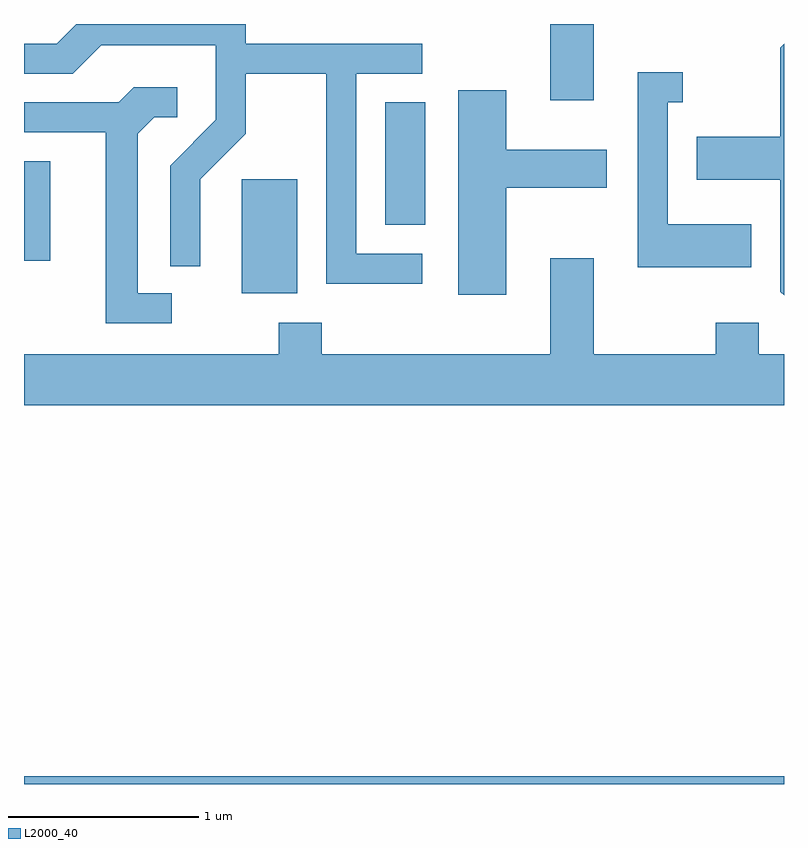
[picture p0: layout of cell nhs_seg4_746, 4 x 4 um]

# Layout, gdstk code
import gdstk
lib = gdstk.Library(unit=1e-6, precision=1e-09)
def R(c, l, rs):  # rectangles x0, y0, x1, y1
    for r in rs: c.add(gdstk.rectangle(r[:2], r[2:], *l))
def P(c, l, *ps):  # polygons
    for p in ps: c.add(gdstk.Polygon(p, *l))
L2000_40 = (2000, 40)

nhs_seg4_746 = lib.new_cell('nhs_seg4_746')
R(nhs_seg4_746, L2000_40, [(205.611,1385.982,209.611,1386.024), (206.756,1388.566,207.049,1389.164), (205.611,1388.736,205.749,1389.259), (207.511,1388.926,207.724,1389.569), (208.381,1389.581,208.609,1389.982)])
P(nhs_seg4_746, L2000_40, [(207.708,1388.774),(207.359,1388.774),(207.359,1389.721),(207.708,1389.721),(207.708,1389.879),(206.779,1389.879),(206.779,1389.982),(205.887,1389.982),(205.784,1389.879),(205.611,1389.879),(205.611,1389.721),(205.867,1389.721),(206.017,1389.871),(206.621,1389.871),(206.621,1389.477),(206.381,1389.237),(206.381,1388.708),(206.539,1388.708),(206.539,1389.164),(206.779,1389.404),(206.779,1389.721),(207.201,1389.721),(207.201,1388.616),(207.708,1388.616)],
  [(209.611,1389.877),(209.591,1389.857),(209.591,1389.389),(209.151,1389.389),(209.151,1389.161),(209.591,1389.161),(209.591,1388.574),(209.611,1388.554)],
  [(209.439,1388.929),(208.999,1388.929),(208.999,1389.571),(209.078,1389.571),(209.078,1389.729),(208.841,1389.729),(208.841,1388.701),(209.439,1388.701)],
  [(206.388,1388.564),(206.209,1388.564),(206.209,1389.404),(206.297,1389.491),(206.418,1389.491),(206.418,1389.649),(206.189,1389.649),(206.109,1389.569),(205.611,1389.569),(205.611,1389.411),(206.041,1389.411),(206.041,1388.406),(206.388,1388.406)],
  [(208.149,1389.121),(208.679,1389.121),(208.679,1389.319),(208.149,1389.319),(208.149,1389.634),(207.896,1389.634),(207.896,1388.556),(208.149,1388.556)],
  [(209.611,1388.244),(209.479,1388.244),(209.479,1388.409),(209.251,1388.409),(209.251,1388.244),(208.609,1388.244),(208.609,1388.749),(208.381,1388.749),(208.381,1388.244),(207.179,1388.244),(207.179,1388.409),(206.951,1388.409),(206.951,1388.244),(205.611,1388.244),(205.611,1387.976),(209.611,1387.976)])

lib.write_gds('nhs_seg4_746.gds')
